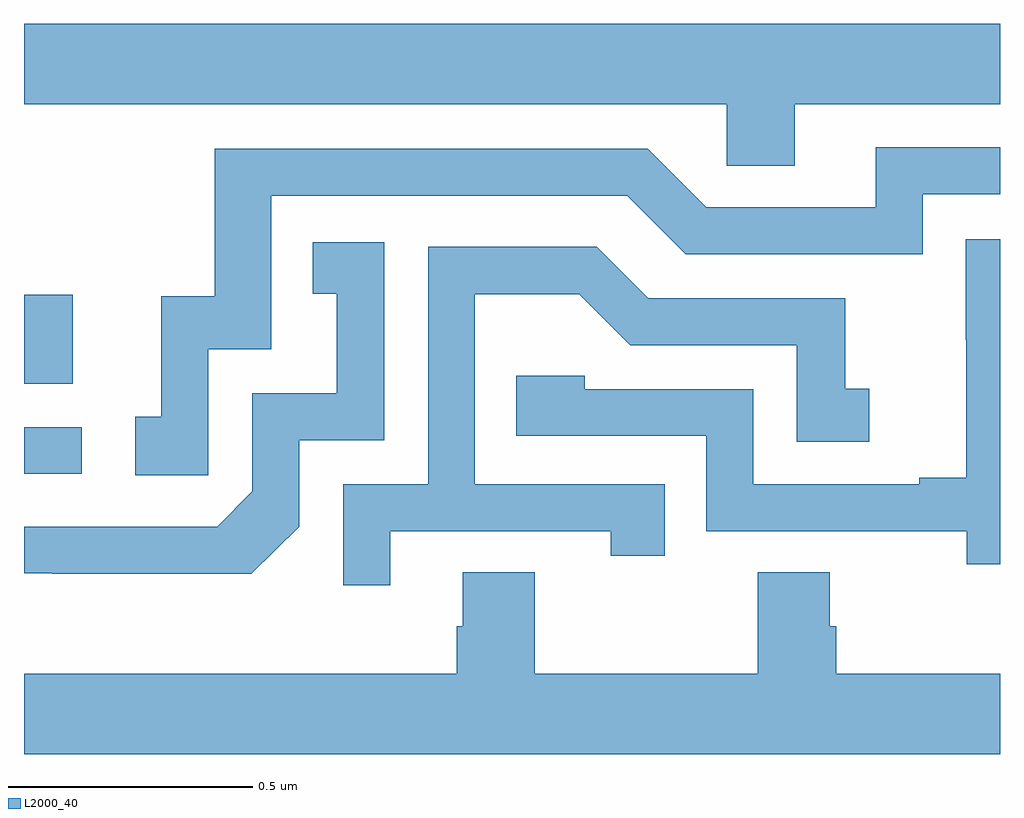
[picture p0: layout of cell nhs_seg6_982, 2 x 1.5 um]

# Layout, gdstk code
import gdstk
lib = gdstk.Library(unit=1e-6, precision=1e-09)
def R(c, l, rs):  # rectangles x0, y0, x1, y1
    for r in rs: c.add(gdstk.rectangle(r[:2], r[2:], *l))
def P(c, l, *ps):  # polygons
    for p in ps: c.add(gdstk.Polygon(p, *l))
L2000_40 = (2000, 40)

nhs_seg6_982 = lib.new_cell('nhs_seg6_982')
R(nhs_seg6_982, L2000_40, [(123,941.25,123.118,941.346), (123,941.435,123.1,941.617)])
P(nhs_seg6_982, L2000_40, [(124.579,942.008),(125,942.008),(125,942.172),(123,942.172),(123,942.008),(124.44,942.008),(124.44,941.881),(124.579,941.881)],
  [(123.378,941.505),(123.507,941.505),(123.507,941.82),(124.236,941.82),(124.356,941.7),(124.842,941.7),(124.842,941.823),(125,941.823),(125,941.919),(124.745,941.919),(124.745,941.796),(124.398,941.796),(124.278,941.916),(123.391,941.916),(123.391,941.614),(123.281,941.614),(123.281,941.367),(123.228,941.367),(123.228,941.247),(123.378,941.247)],
  [(125,941.731),(124.93,941.731),(124.93,941.525),(124.931,941.525),(124.931,941.242),(124.835,941.242),(124.835,941.229),(124.494,941.229),(124.494,941.424),(124.149,941.424),(124.149,941.451),(124.009,941.451),(124.009,941.328),(124.398,941.328),(124.398,941.133),(124.932,941.133),(124.932,941.065),(125,941.065)],
  [(123.564,941.142),(123.564,941.319),(123.738,941.319),(123.738,941.725),(123.592,941.725),(123.592,941.619),(123.641,941.619),(123.641,941.415),(123.468,941.415),(123.468,941.214),(123.396,941.142),(123,941.142),(123,941.046),(123.058,941.046),(123.058,941.045),(123.466,941.045)],
  [(123.751,941.133),(124.202,941.133),(124.202,941.082),(124.313,941.082),(124.313,941.229),(123.924,941.229),(123.924,941.618),(124.138,941.618),(124.242,941.514),(124.584,941.514),(124.584,941.316),(124.732,941.316),(124.732,941.425),(124.683,941.425),(124.683,941.61),(124.279,941.61),(124.174,941.715),(123.828,941.715),(123.828,941.229),(123.654,941.229),(123.654,941.022),(123.751,941.022)],
  [(125,940.84),(124.664,940.84),(124.664,940.938),(124.651,940.938),(124.651,941.048),(124.504,941.048),(124.504,940.84),(124.047,940.84),(124.047,941.048),(123.899,941.048),(123.899,940.938),(123.887,940.938),(123.887,940.84),(123,940.84),(123,940.676),(125,940.676)])

lib.write_gds('nhs_seg6_982.gds')
